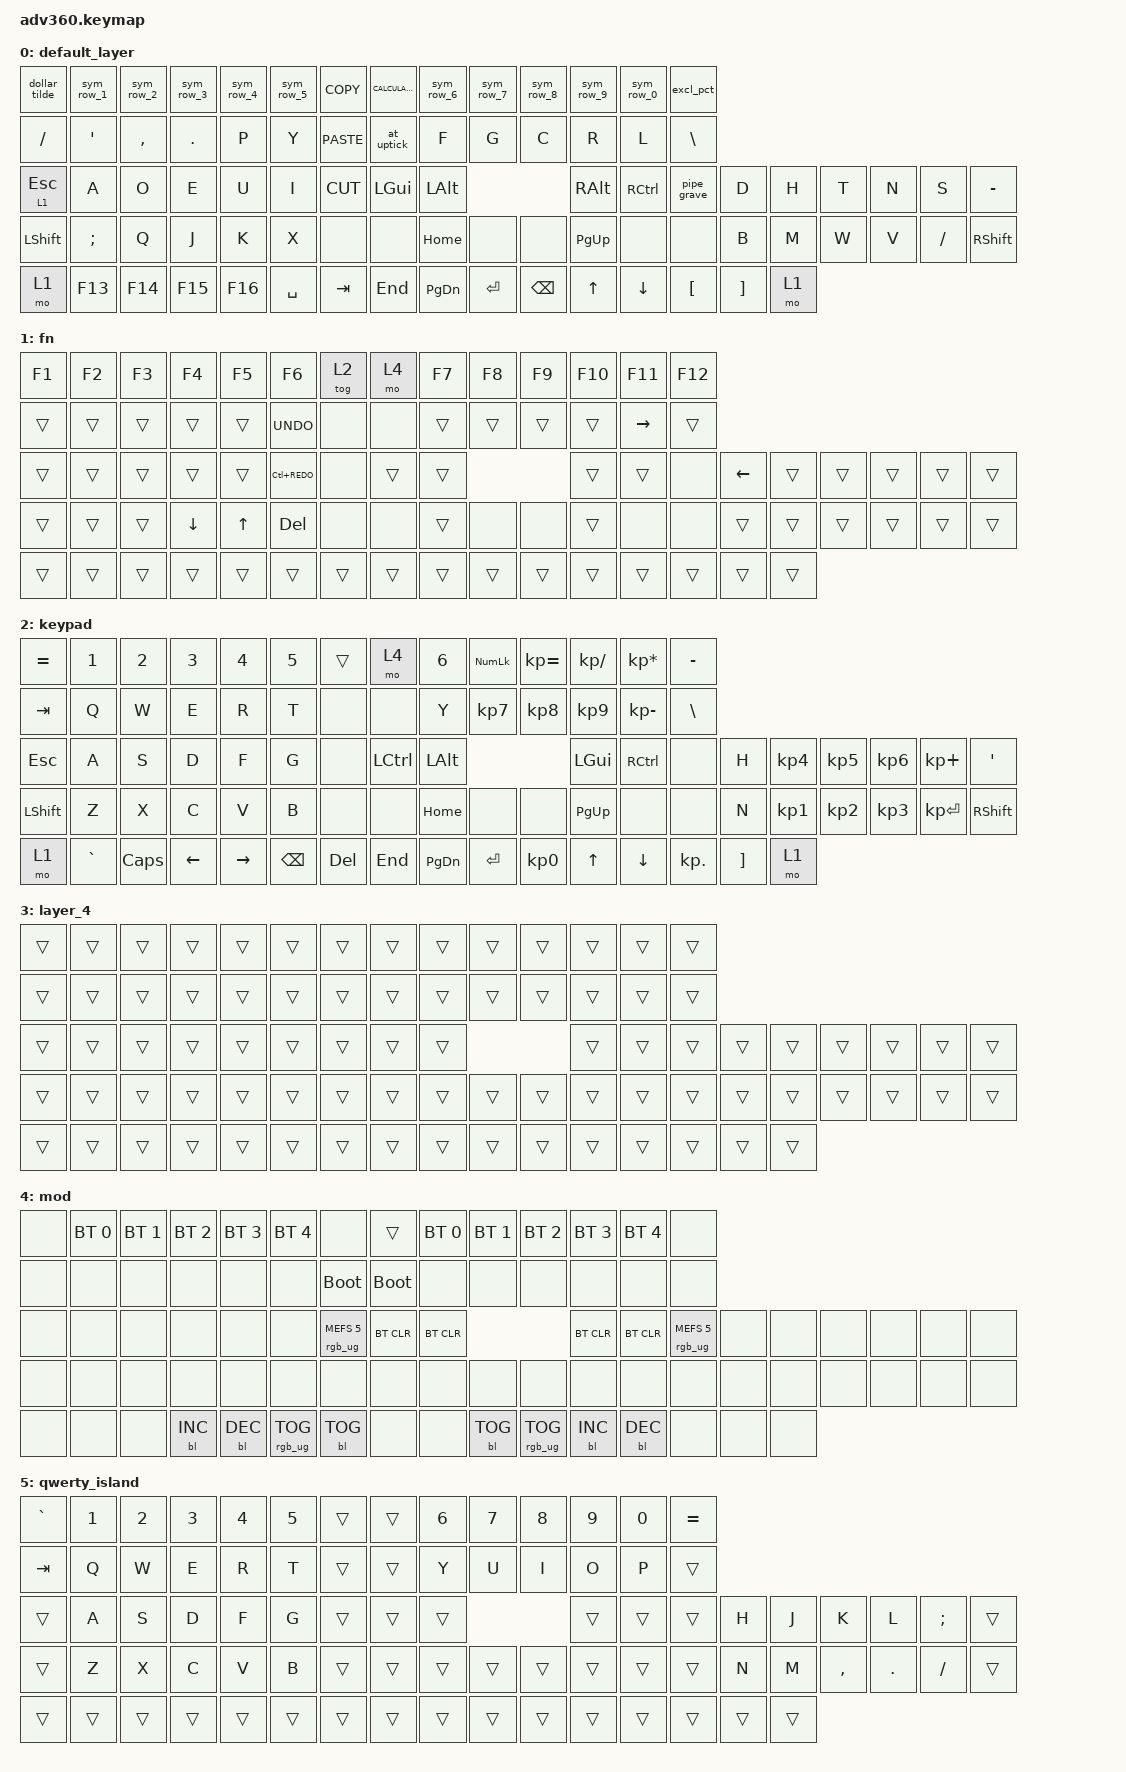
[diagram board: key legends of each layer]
#include <behaviors.dtsi>
#include <dt-bindings/zmk/backlight.h>
#include <dt-bindings/zmk/bt.h>
#include <dt-bindings/zmk/keys.h>
#include <dt-bindings/zmk/rgb.h>

/ {
    behaviors {
        #include "macros.dtsi"

        sym_row_1: sym_row_1 {
            compatible = "zmk,behavior-mod-morph";
            label = "SYM_ROW_1";
            bindings = <&kp PLUS>, <&kp NUMBER_1>;

            #binding-cells = <0>;
            mods = <(MOD_LSFT|MOD_RSFT)>;
            keep-mods = <(MOD_LCTL|MOD_LALT|MOD_LGUI|MOD_RCTL|MOD_RALT|MOD_RGUI)>;
        };

        sym_row_2: sym_row_2 {
            compatible = "zmk,behavior-mod-morph";
            label = "SYM_ROW_2";
            bindings = <&kp LEFT_BRACKET>, <&kp NUMBER_2>;

            #binding-cells = <0>;
            mods = <(MOD_LSFT|MOD_RSFT)>;
            keep-mods = <(MOD_LCTL|MOD_LALT|MOD_LGUI|MOD_RCTL|MOD_RALT|MOD_RGUI)>;
        };

        sym_row_3: sym_row_3 {
            compatible = "zmk,behavior-mod-morph";
            label = "SYM_ROW_3";
            bindings = <&kp LEFT_BRACE>, <&kp NUMBER_3>;

            #binding-cells = <0>;
            mods = <(MOD_LSFT|MOD_RSFT)>;
            keep-mods = <(MOD_LCTL|MOD_LALT|MOD_LGUI|MOD_RCTL|MOD_RALT|MOD_RGUI)>;
        };

        sym_row_5: sym_row_5 {
            compatible = "zmk,behavior-mod-morph";
            label = "SYM_ROW_5";
            bindings = <&kp AMPERSAND>, <&kp N5>;

            #binding-cells = <0>;
            mods = <(MOD_LSFT|MOD_RSFT)>;
            keep-mods = <(MOD_LCTL|MOD_LALT|MOD_LGUI|MOD_RCTL|MOD_RALT|MOD_RGUI)>;
        };

        sym_row_6: sym_row_6 {
            compatible = "zmk,behavior-mod-morph";
            label = "SYM_ROW_6";
            bindings = <&kp EQUAL>, <&kp NUMBER_6>;

            #binding-cells = <0>;
            mods = <(MOD_LSFT|MOD_RSFT)>;
            keep-mods = <(MOD_LCTL|MOD_LALT|MOD_LGUI|MOD_RCTL|MOD_RALT|MOD_RGUI)>;
        };

        sym_row_7: sym_row_7 {
            compatible = "zmk,behavior-mod-morph";
            label = "SYM_ROW_7";
            bindings = <&kp RIGHT_PARENTHESIS>, <&kp NUMBER_7>;

            #binding-cells = <0>;
            mods = <(MOD_LSFT|MOD_RSFT)>;
            keep-mods = <(MOD_LCTL|MOD_LALT|MOD_LGUI|MOD_RCTL|MOD_RALT|MOD_RGUI)>;
        };

        sym_row_8: sym_row_8 {
            compatible = "zmk,behavior-mod-morph";
            label = "SYM_ROW_8";
            bindings = <&kp RIGHT_BRACE>, <&kp NUMBER_8>;

            #binding-cells = <0>;
            mods = <(MOD_LSFT|MOD_RSFT)>;
            keep-mods = <(MOD_LCTL|MOD_LALT|MOD_LGUI|MOD_RCTL|MOD_RALT|MOD_RGUI)>;
        };

        sym_row_9: sym_row_9 {
            compatible = "zmk,behavior-mod-morph";
            label = "SYM_ROW_9";
            bindings = <&kp RIGHT_BRACKET>, <&kp NUMBER_9>;

            #binding-cells = <0>;
            mods = <(MOD_LSFT|MOD_RSFT)>;
            keep-mods = <(MOD_LCTL|MOD_LALT|MOD_LGUI|MOD_RCTL|MOD_RALT|MOD_RGUI)>;
        };

        sym_row_0: sym_row_0 {
            compatible = "zmk,behavior-mod-morph";
            label = "SYM_ROW_0";
            bindings = <&kp ASTRK>, <&kp NUMBER_0>;

            #binding-cells = <0>;
            mods = <(MOD_LSFT|MOD_RSFT)>;
            keep-mods = <(MOD_LCTL|MOD_LALT|MOD_LGUI|MOD_RCTL|MOD_RALT|MOD_RGUI)>;
        };

        backslash_pound: backslash_pound {
            compatible = "zmk,behavior-mod-morph";
            label = "BACKSLASH_POUND";
            bindings = <&kp BACKSLASH>, <&kp HASH>;

            #binding-cells = <0>;
            mods = <(MOD_LSFT|MOD_RSFT)>;
            keep-mods = <(MOD_LCTL|MOD_LALT|MOD_LGUI|MOD_RCTL|MOD_RALT|MOD_RGUI)>;
        };

        excl_pct: excl_pct {
            compatible = "zmk,behavior-mod-morph";
            label = "EXCL_PCT";
            bindings = <&kp EXCLAMATION>, <&kp PERCENT>;

            #binding-cells = <0>;
            mods = <(MOD_LSFT|MOD_RSFT)>;
            keep-mods = <(MOD_LCTL|MOD_LALT|MOD_LGUI|MOD_RCTL|MOD_RALT|MOD_RGUI)>;
        };

        at_uptick: at_uptick {
            compatible = "zmk,behavior-mod-morph";
            label = "AT_UPTICK";
            bindings = <&kp AT_SIGN>, <&kp CARET>;

            #binding-cells = <0>;
            mods = <(MOD_LSFT|MOD_RSFT)>;
            keep-mods = <(MOD_LCTL|MOD_LALT|MOD_LGUI|MOD_RCTL|MOD_RALT|MOD_RGUI)>;
        };

        pipe_grave: pipe_grave {
            compatible = "zmk,behavior-mod-morph";
            label = "PIPE_GRAVE";
            bindings = <&kp PIPE>, <&kp CARET>;

            #binding-cells = <0>;
            mods = <(MOD_LSFT|MOD_RSFT)>;
            keep-mods = <(MOD_LCTL|MOD_LALT|MOD_LGUI|MOD_RCTL|MOD_RALT|MOD_RGUI)>;
        };

        dollar_tilde: dollar_tilde {
            compatible = "zmk,behavior-mod-morph";
            label = "DOLLAR_TILDE";
            bindings = <&kp DOLLAR>, <&kp TILDE>;

            #binding-cells = <0>;
            mods = <(MOD_LSFT|MOD_RSFT)>;
            keep-mods = <(MOD_LCTL|MOD_LALT|MOD_LGUI|MOD_RCTL|MOD_RALT|MOD_RGUI)>;
        };

        sym_row_4: sym_row_4 {
            compatible = "zmk,behavior-mod-morph";
            label = "SYM_ROW_4";
            bindings = <&kp LEFT_PARENTHESIS>, <&kp NUMBER_4>;

            #binding-cells = <0>;
            mods = <(MOD_LSFT|MOD_RSFT)>;
            keep-mods = <(MOD_LCTL|MOD_LALT|MOD_LGUI|MOD_RCTL|MOD_RALT|MOD_RGUI)>;
        };
    };

    keymap {
        compatible = "zmk,keymap";

        default_layer {
            bindings = <
&dollar_tilde  &sym_row_1     &sym_row_2  &sym_row_3  &sym_row_4  &sym_row_5  &kp K_COPY   &kp K_CALCULATOR  &sym_row_6  &sym_row_7  &sym_row_8     &sym_row_9     &sym_row_0  &excl_pct
&kp SLASH      &kp SQT        &kp COMMA   &kp PERIOD  &kp P       &kp Y       &kp K_PASTE  &at_uptick        &kp F       &kp G       &kp C          &kp R          &kp L       &kp BSLH
&lt 1 ESCAPE   &kp A          &kp O       &kp E       &kp U       &kp I       &kp K_CUT    &kp LGUI          &kp LALT                               &kp RIGHT_ALT  &kp RCTRL   &pipe_grave  &kp D     &kp H  &kp T  &kp N  &kp S     &kp MINUS
&kp LSHFT      &kp SEMICOLON  &kp Q       &kp J       &kp K       &kp X       &none        &none             &kp HOME    &none       &none          &kp PG_UP      &none       &none        &kp B     &kp M  &kp W  &kp V  &kp FSLH  &kp RSHFT
&mo 1          &kp F13        &kp F14     &kp F15     &kp F16     &kp SPACE   &kp TAB      &kp END           &kp PG_DN   &kp ENTER   &kp BACKSPACE  &kp UP         &kp DOWN    &kp LBKT     &kp RBKT  &mo 1
            >;
        };

        fn {
            bindings = <
&kp F1  &kp F2  &kp F3  &kp F4    &kp F5        &kp F6          &tog 2  &mo 4   &kp F7  &kp F8  &kp F9  &kp F10  &kp F11    &kp F12
&trans  &trans  &trans  &trans    &trans        &kp K_UNDO      &none   &none   &trans  &trans  &trans  &trans   &kp RIGHT  &trans
&trans  &trans  &trans  &trans    &trans        &kp LC(K_REDO)  &none   &trans  &trans                  &trans   &trans     &none    &kp LEFT  &trans  &trans  &trans  &trans  &trans
&trans  &trans  &trans  &kp DOWN  &kp UP_ARROW  &kp DELETE      &none   &none   &trans  &none   &none   &trans   &none      &none    &trans    &trans  &trans  &trans  &trans  &trans
&trans  &trans  &trans  &trans    &trans        &trans          &trans  &trans  &trans  &trans  &trans  &trans   &trans     &trans   &trans    &trans
            >;
        };

        keypad {
            bindings = <
&kp EQUAL  &kp N1     &kp N2    &kp N3    &kp N4     &kp N5    &trans   &mo 4      &kp N6     &kp KP_NUM  &kp KP_EQUAL  &kp KP_DIVIDE  &kp KP_MULTIPLY  &kp MINUS
&kp TAB    &kp Q      &kp W     &kp E     &kp R      &kp T     &none    &none      &kp Y      &kp KP_N7   &kp KP_N8     &kp KP_N9      &kp KP_MINUS     &kp BSLH
&kp ESC    &kp A      &kp S     &kp D     &kp F      &kp G     &none    &kp LCTRL  &kp LALT                             &kp LGUI       &kp RCTRL        &none       &kp H     &kp KP_N4  &kp KP_N5  &kp KP_N6  &kp KP_PLUS   &kp SQT
&kp LSHFT  &kp Z      &kp X     &kp C     &kp V      &kp B     &none    &none      &kp HOME   &none       &none         &kp PG_UP      &none            &none       &kp N     &kp KP_N1  &kp KP_N2  &kp KP_N3  &kp KP_ENTER  &kp RSHFT
&mo 1      &kp GRAVE  &kp CAPS  &kp LEFT  &kp RIGHT  &kp BKSP  &kp DEL  &kp END    &kp PG_DN  &kp ENTER   &kp KP_N0     &kp UP         &kp DOWN         &kp KP_DOT  &kp RBKT  &mo 1
            >;
        };

        layer_4 {
            bindings = <
&trans  &trans  &trans  &trans  &trans  &trans  &trans  &trans  &trans  &trans  &trans  &trans  &trans  &trans
&trans  &trans  &trans  &trans  &trans  &trans  &trans  &trans  &trans  &trans  &trans  &trans  &trans  &trans
&trans  &trans  &trans  &trans  &trans  &trans  &trans  &trans  &trans                  &trans  &trans  &trans  &trans  &trans  &trans  &trans  &trans  &trans
&trans  &trans  &trans  &trans  &trans  &trans  &trans  &trans  &trans  &trans  &trans  &trans  &trans  &trans  &trans  &trans  &trans  &trans  &trans  &trans
&trans  &trans  &trans  &trans  &trans  &trans  &trans  &trans  &trans  &trans  &trans  &trans  &trans  &trans  &trans  &trans
            >;
        };

        mod {
            bindings = <
&none  &bt BT_SEL 0  &bt BT_SEL 1  &bt BT_SEL 2  &bt BT_SEL 3  &bt BT_SEL 4     &none                   &trans       &bt BT_SEL 0  &bt BT_SEL 1  &bt BT_SEL 2     &bt BT_SEL 3  &bt BT_SEL 4  &none
&none  &none         &none         &none         &none         &none            &bootloader             &bootloader  &none         &none         &none            &none         &none         &none
&none  &none         &none         &none         &none         &none            &rgb_ug RGB_MEFS_CMD 5  &bt BT_CLR   &bt BT_CLR                                   &bt BT_CLR    &bt BT_CLR    &rgb_ug RGB_MEFS_CMD 5  &none  &none  &none  &none  &none  &none
&none  &none         &none         &none         &none         &none            &none                   &none        &none         &none         &none            &none         &none         &none                   &none  &none  &none  &none  &none  &none
&none  &none         &none         &bl BL_INC    &bl BL_DEC    &rgb_ug RGB_TOG  &bl BL_TOG              &none        &none         &bl BL_TOG    &rgb_ug RGB_TOG  &bl BL_INC    &bl BL_DEC    &none                   &none  &none
            >;
        };

        qwerty_island {
            bindings = <
&kp GRAVE  &kp N1  &kp N2  &kp N3  &kp N4  &kp N5  &trans  &trans  &kp N6  &kp N7  &kp N8  &kp N9  &kp N0  &kp EQUAL
&kp TAB    &kp Q   &kp W   &kp E   &kp R   &kp T   &trans  &trans  &kp Y   &kp U   &kp I   &kp O   &kp P   &trans
&trans     &kp A   &kp S   &kp D   &kp F   &kp G   &trans  &trans  &trans                  &trans  &trans  &trans     &kp H   &kp J   &kp K      &kp L    &kp SEMI  &trans
&trans     &kp Z   &kp X   &kp C   &kp V   &kp B   &trans  &trans  &trans  &trans  &trans  &trans  &trans  &trans     &kp N   &kp M   &kp COMMA  &kp DOT  &kp FSLH  &trans
&trans     &trans  &trans  &trans  &trans  &trans  &trans  &trans  &trans  &trans  &trans  &trans  &trans  &trans     &trans  &trans
            >;
        };
    };
};
